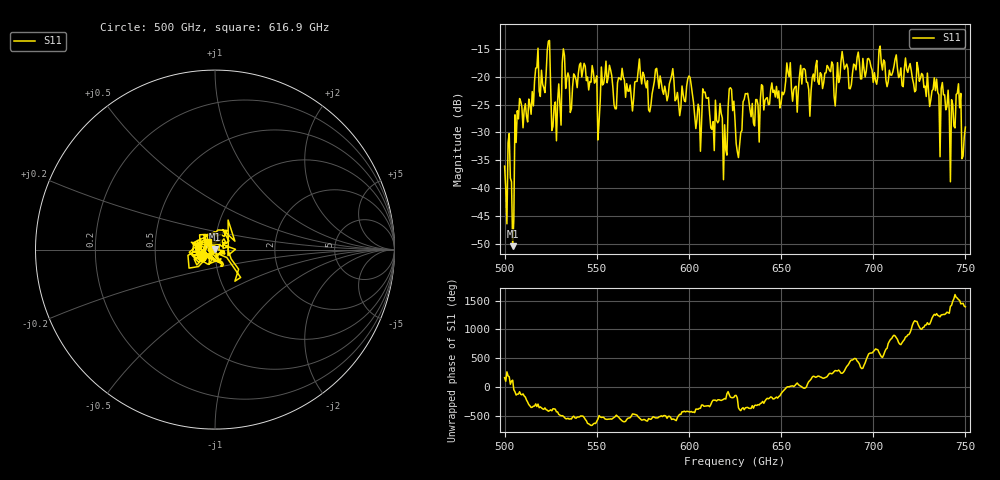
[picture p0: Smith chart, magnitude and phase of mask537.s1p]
!Created with skrf (http://scikit-rf.org).
# GHz S MA R 50.0
!freq magS11 angS11
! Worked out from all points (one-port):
!   401 points, 500 GHz to 750 GHz, reference 50 ohm
!   lowest |S11| = -50.4 dB at 504.4 GHz (marker M1), VSWR 1.01, Z = 49.8 + j0.258 ohm
!   |S11| at or under -10 dB: start of sweep to end of sweep
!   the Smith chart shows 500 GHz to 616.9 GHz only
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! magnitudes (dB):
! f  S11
! 500 GHz  -36.0
! 504.4 GHz  -50.4
! 508.1 GHz  -23.9
! 523.8 GHz  -13.6
! 526.9 GHz  -25.3
! 531.2 GHz  -17.6
! 548.8 GHz  -21.2
! 550.6 GHz  -31.4
! 553.8 GHz  -21.2
! 560 GHz  -25.8
! 562.5 GHz  -20.3
! 579.4 GHz  -25.1
! 590.6 GHz  -19.8
! 593.8 GHz  -22.8
! 600 GHz  -19.9
! 605 GHz  -24.9
! 608.8 GHz  -22.8
! 619.4 GHz  -28.6
! 623.1 GHz  -22.3
! 625 GHz  -27.8
! 626.9 GHz  -34.5
! 630.6 GHz  -23.0
! 656.2 GHz  -24.4
! 687.5 GHz  -22.2
! 718.8 GHz  -19.2
! 743.1 GHz  -24.9
! 746.2 GHz  -21.3
! 750 GHz  -29.1
